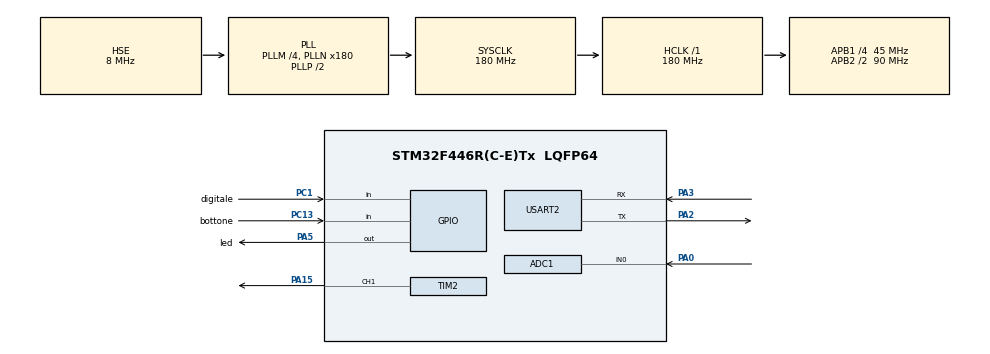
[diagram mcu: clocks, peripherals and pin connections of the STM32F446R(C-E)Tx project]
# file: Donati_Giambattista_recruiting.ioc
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ADC1.Channel-4\#ChannelRegularConversion=ADC_CHANNEL_0
ADC1.NbrOfConversionFlag=1
ADC1.Rank-4\#ChannelRegularConversion=1
ADC1.SamplingTime-4\#ChannelRegularConversion=ADC_SAMPLETIME_3CYCLES
ADC1.master=1
Dma.Request0=USART2_TX
Dma.USART2_TX.0.Direction=DMA_MEMORY_TO_PERIPH
Dma.USART2_TX.0.FIFOMode=DMA_FIFOMODE_DISABLE
Dma.USART2_TX.0.Instance=DMA1_Stream6
Dma.USART2_TX.0.MemDataAlignment=DMA_MDATAALIGN_BYTE
Dma.USART2_TX.0.MemInc=DMA_MINC_ENABLE
Dma.USART2_TX.0.Mode=DMA_NORMAL
Dma.USART2_TX.0.PeriphDataAlignment=DMA_PDATAALIGN_BYTE
Dma.USART2_TX.0.PeriphInc=DMA_PINC_DISABLE
Dma.USART2_TX.0.Priority=DMA_PRIORITY_LOW
Mcu.Family=STM32F4
Mcu.Name=STM32F446R(C-E)Tx
Mcu.Package=LQFP64
NVIC.DMA1_Stream6_IRQn=true\:0\:0\:false\:false\:true\:false\:true\:true
NVIC.PriorityGroup=NVIC_PRIORITYGROUP_0
NVIC.USART2_IRQn=true\:0\:0\:false\:false\:true\:true\:true\:true
PA0-WKUP.Signal=ADCx_IN0
PA13.Mode=Serial_Wire
PA13.Signal=SYS_JTMS-SWDIO
PA14.Mode=Serial_Wire
PA14.Signal=SYS_JTCK-SWCLK
PA15.Signal=S_TIM2_CH1_ETR
PA2.Mode=Asynchronous
PA2.Signal=USART2_TX
PA3.Mode=Asynchronous
PA3.Signal=USART2_RX
PA5.GPIO_Label=led
PA5.Signal=GPIO_Output
PC1.GPIO_Label=digitale
PC1.Signal=GPIO_Input
PC13.GPIO_Label=bottone
PC13.Signal=GPIO_Input
PH0-OSC_IN.Mode=HSE-External-Oscillator
PH0-OSC_IN.Signal=RCC_OSC_IN
PH1-OSC_OUT.Mode=HSE-External-Oscillator
PH1-OSC_OUT.Signal=RCC_OSC_OUT
ProjectManager.HeapSize=0x200
ProjectManager.StackSize=0x400
ProjectManager.TargetToolchain=Makefile
RCC.48MHZClocksFreq_Value=84000000
RCC.AHBFreq_Value=180000000
RCC.APB1CLKDivider=RCC_HCLK_DIV4
RCC.APB1Freq_Value=45000000
RCC.APB1TimFreq_Value=90000000
RCC.APB2CLKDivider=RCC_HCLK_DIV2
RCC.APB2Freq_Value=90000000
RCC.APB2TimFreq_Value=180000000
RCC.CortexFreq_Value=180000000
RCC.FLatency-AdvancedSettings=FLASH_LATENCY_5
RCC.HCLKFreq_Value=180000000
RCC.HSE_VALUE=8000000
RCC.HSI_VALUE=16000000
RCC.PLLM=4
RCC.PLLN=180
RCC.PLLSourceVirtual=RCC_PLLSOURCE_HSE
RCC.SYSCLKFreq_VALUE=180000000
RCC.SYSCLKSource=RCC_SYSCLKSOURCE_PLLCLK
RCC.USBFreq_Value=180000000
RCC.VCOOutputFreq_Value=360000000
SH.ADCx_IN0.0=ADC1_IN0,IN0
SH.S_TIM2_CH1_ETR.0=TIM2_CH1,PWM Generation1 CH1
TIM2.Channel-PWM\ Generation1\ CH1=TIM_CHANNEL_1
TIM2.Period=4294967295
TIM2.Prescaler=45000
USART2.VirtualMode=VM_ASYNC
VP_TIM2_VS_ClockSourceINT.Mode=Internal
board=NUCLEO-F446RE

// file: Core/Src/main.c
/* USER CODE BEGIN Header */
/**
  ******************************************************************************
  * @file           : main.c
  * @brief          : Main program body
  ******************************************************************************
  * @attention
  *
  * Copyright (c) 2024 STMicroelectronics.
  * All rights reserved.
  *
  * This software is licensed under terms that can be found in the LICENSE file
  * in the root directory of this software component.
  * If no LICENSE file comes with this software, it is provided AS-IS.
  *
  ******************************************************************************
  */
/* USER CODE END Header */
#include "main.h"
#include <stdio.h>
#include <string.h>

ADC_HandleTypeDef hadc1;

TIM_HandleTypeDef htim2;

UART_HandleTypeDef huart2;
DMA_HandleTypeDef hdma_usart2_tx;

/* USER CODE BEGIN PV */

uint16_t vin=0;
char msg[20];
char input[20];
uint8_t rxdata[20];
uint8_t final_data[20];
uint8_t temp[2];
uint32_t timer_counter;
int cont;

/* USER CODE END PV */

void SystemClock_Config(void);
static void MX_GPIO_Init(void);
static void MX_DMA_Init(void);
static void MX_USART2_UART_Init(void);
static void MX_ADC1_Init(void);
static void MX_TIM2_Init(void);
/* USER CODE BEGIN PFP */

void wait_request();
void pause();
void warning();
void error();
void listening();
void read_sensor();
/* USER CODE END PFP */

/* USER CODE BEGIN 0 */

// void HAL_UART_RxCpltCallback(UART_HandleTypeDef *huart2)
// {
//   memcpy(rxdata+cont, temp, 1);
//   if(++cont>=20) cont=0;
//   HAL_UART_Receive_IT(&huart2, temp, 2);
// }

/* USER CODE END 0 */

int main(void)
{

  /* MCU Configuration--------------------------------------------------------*/

  /* Reset of all peripherals, Initializes the Flash interface and the Systick. */
  HAL_Init();

  /* Configure the system clock */
  SystemClock_Config();

  /* Initialize all configured peripherals */
  MX_GPIO_Init();
  MX_DMA_Init();
  MX_USART2_UART_Init();
  MX_ADC1_Init();
  MX_TIM2_Init();
  /* USER CODE BEGIN 2 */
  wait_request();

  /* USER CODE END 2 */

  /* Infinite loop */
  while (1)
  {

    // HAL_GPIO_WritePin(led_GPIO_Port, led_Pin, GPIO_PIN_SET);
    // HAL_Delay(200);
    // HAL_GPIO_WritePin(led_GPIO_Port, led_Pin, GPIO_PIN_RESET);
    // HAL_Delay(200);

    // if(temp[0] == '\n')
    // {
    //   memcpy(final_data, rxdata, cont);
    //   cont = 0;
    // }

    // HAL_UART_Receive(&huart2, (uint8_t*)&input, 20, 1000);
    // if(input[0]=='L')
    // {
    //   HAL_GPIO_WritePin(led_GPIO_Port, led_Pin, GPIO_PIN_SET);
    //   HAL_Delay(200);
    //   HAL_GPIO_WritePin(led_GPIO_Port, led_Pin, GPIO_PIN_RESET);
    // }

    HAL_GPIO_WritePin(led_GPIO_Port, led_Pin, GPIO_PIN_SET);
    listening();
    //read_sensor();

  }
}

void wait_request()
{
  while(HAL_GPIO_ReadPin(bottone_GPIO_Port, bottone_Pin)==GPIO_PIN_SET)
  {

  }
  char data[]="programma iniziato\n ";
  HAL_UART_Transmit(&huart2, (uint8_t*)&data, strlen(data), HAL_MAX_DELAY);
  HAL_Delay(100);
}

void pause()
{
  HAL_Delay(100);
  while(HAL_GPIO_ReadPin(bottone_GPIO_Port, bottone_Pin)==GPIO_PIN_SET)
  {
    char data[20]="Stato Pause\n ";
    HAL_UART_Transmit(&huart2, (uint8_t*)&data, strlen(data), HAL_MAX_DELAY);

    HAL_GPIO_WritePin(led_GPIO_Port, led_Pin, GPIO_PIN_SET);
    HAL_Delay(1000);
    HAL_GPIO_WritePin(led_GPIO_Port, led_Pin, GPIO_PIN_RESET);
    HAL_Delay(1000);
  }
}

void warning()
{
  while(HAL_GPIO_ReadPin(bottone_GPIO_Port, bottone_Pin)==GPIO_PIN_SET)
  {
    char data[20]="WARNING\n ";
    HAL_UART_Transmit(&huart2, (uint8_t*)&data, strlen(data), HAL_MAX_DELAY);
    HAL_Delay(500);
  }
}

void error()
{
  while(HAL_GPIO_ReadPin(bottone_GPIO_Port, bottone_Pin)==GPIO_PIN_SET)
  {
    char data[20]="ERROR\n ";
    HAL_UART_Transmit(&huart2, (uint8_t*)&data, strlen(data), HAL_MAX_DELAY);
    HAL_GPIO_WritePin(led_GPIO_Port, led_Pin, GPIO_PIN_SET);
    HAL_Delay(200);
    HAL_GPIO_WritePin(led_GPIO_Port, led_Pin, GPIO_PIN_RESET);
    HAL_Delay(200);
  }
  NVIC_SystemReset();

}

void listening()
{
  read_sensor();
  if(HAL_GPIO_ReadPin(bottone_GPIO_Port, bottone_Pin)==GPIO_PIN_RESET)
  {
    pause();
  }
  if(HAL_GPIO_ReadPin(digitale_GPIO_Port, digitale_Pin)==GPIO_PIN_SET)
  {
    timer_counter=__HAL_TIM_GET_COUNTER(&htim2);
    while (HAL_GPIO_ReadPin(digitale_GPIO_Port, digitale_Pin)==GPIO_PIN_SET)
    {}
  }

  if (__HAL_TIM_GET_COUNTER(&htim2) - timer_counter >=20000)
  {
    warning();
    timer_counter=0;
  }

}

void read_sensor()
{
    HAL_ADC_Start(&hadc1);
    HAL_ADC_PollForConversion(&hadc1, 20);
    vin=HAL_ADC_GetValue(&hadc1);
    sprintf(msg, "Vin: %hu \n\r", vin);
    HAL_UART_Transmit(&huart2, (uint8_t*)&msg, 20, HAL_MAX_DELAY);
    HAL_Delay(100);
}

void SystemClock_Config(void)
{
  RCC_OscInitTypeDef RCC_OscInitStruct = {0};
  RCC_ClkInitTypeDef RCC_ClkInitStruct = {0};

  /** Configure the main internal regulator output voltage
  */
  __HAL_RCC_PWR_CLK_ENABLE();
  __HAL_PWR_VOLTAGESCALING_CONFIG(PWR_REGULATOR_VOLTAGE_SCALE1);

  /** Initializes the RCC Oscillators according to the specified parameters
  * in the RCC_OscInitTypeDef structure.
  */
  RCC_OscInitStruct.OscillatorType = RCC_OSCILLATORTYPE_HSE;
  RCC_OscInitStruct.HSEState = RCC_HSE_ON;
  RCC_OscInitStruct.PLL.PLLState = RCC_PLL_ON;
  RCC_OscInitStruct.PLL.PLLSource = RCC_PLLSOURCE_HSE;
  RCC_OscInitStruct.PLL.PLLM = 4;
  RCC_OscInitStruct.PLL.PLLN = 180;
  RCC_OscInitStruct.PLL.PLLP = RCC_PLLP_DIV2;
  RCC_OscInitStruct.PLL.PLLQ = 2;
  RCC_OscInitStruct.PLL.PLLR = 2;
  if (HAL_RCC_OscConfig(&RCC_OscInitStruct) != HAL_OK)
  {
    Error_Handler();
  }

  /** Activate the Over-Drive mode
  */
  if (HAL_PWREx_EnableOverDrive() != HAL_OK)
  {
    Error_Handler();
  }

  /** Initializes the CPU, AHB and APB buses clocks
  */
  RCC_ClkInitStruct.ClockType = RCC_CLOCKTYPE_HCLK|RCC_CLOCKTYPE_SYSCLK
                              |RCC_CLOCKTYPE_PCLK1|RCC_CLOCKTYPE_PCLK2;
  RCC_ClkInitStruct.SYSCLKSource = RCC_SYSCLKSOURCE_PLLCLK;
  RCC_ClkInitStruct.AHBCLKDivider = RCC_SYSCLK_DIV1;
  RCC_ClkInitStruct.APB1CLKDivider = RCC_HCLK_DIV4;
  RCC_ClkInitStruct.APB2CLKDivider = RCC_HCLK_DIV2;

  if (HAL_RCC_ClockConfig(&RCC_ClkInitStruct, FLASH_LATENCY_5) != HAL_OK)
  {
    Error_Handler();
  }
}

static void MX_ADC1_Init(void)
{

  ADC_ChannelConfTypeDef sConfig = {0};

  /** Configure the global features of the ADC (Clock, Resolution, Data Alignment and number of conversion)
  */
  hadc1.Instance = ADC1;
  hadc1.Init.ClockPrescaler = ADC_CLOCK_SYNC_PCLK_DIV4;
  hadc1.Init.Resolution = ADC_RESOLUTION_12B;
  hadc1.Init.ScanConvMode = DISABLE;
  hadc1.Init.ContinuousConvMode = DISABLE;
  hadc1.Init.DiscontinuousConvMode = DISABLE;
  hadc1.Init.ExternalTrigConvEdge = ADC_EXTERNALTRIGCONVEDGE_NONE;
  hadc1.Init.ExternalTrigConv = ADC_SOFTWARE_START;
  hadc1.Init.DataAlign = ADC_DATAALIGN_RIGHT;
  hadc1.Init.NbrOfConversion = 1;
  hadc1.Init.DMAContinuousRequests = DISABLE;
  hadc1.Init.EOCSelection = ADC_EOC_SINGLE_CONV;
  if (HAL_ADC_Init(&hadc1) != HAL_OK)
  {
    Error_Handler();
  }

  /** Configure for the selected ADC regular channel its corresponding rank in the sequencer and its sample time.
  */
  sConfig.Channel = ADC_CHANNEL_0;
  sConfig.Rank = 1;
  sConfig.SamplingTime = ADC_SAMPLETIME_3CYCLES;
  if (HAL_ADC_ConfigChannel(&hadc1, &sConfig) != HAL_OK)
  {
    Error_Handler();
  }

}

static void MX_TIM2_Init(void)
{

  TIM_ClockConfigTypeDef sClockSourceConfig = {0};
  TIM_MasterConfigTypeDef sMasterConfig = {0};
  TIM_OC_InitTypeDef sConfigOC = {0};

  htim2.Instance = TIM2;
  htim2.Init.Prescaler = 45000;
  htim2.Init.CounterMode = TIM_COUNTERMODE_UP;
  htim2.Init.Period = 4294967295;
  htim2.Init.ClockDivision = TIM_CLOCKDIVISION_DIV1;
  htim2.Init.AutoReloadPreload = TIM_AUTORELOAD_PRELOAD_DISABLE;
  if (HAL_TIM_Base_Init(&htim2) != HAL_OK)
  {
    Error_Handler();
  }
  sClockSourceConfig.ClockSource = TIM_CLOCKSOURCE_INTERNAL;
  if (HAL_TIM_ConfigClockSource(&htim2, &sClockSourceConfig) != HAL_OK)
  {
    Error_Handler();
  }
  if (HAL_TIM_PWM_Init(&htim2) != HAL_OK)
  {
    Error_Handler();
  }
  sMasterConfig.MasterOutputTrigger = TIM_TRGO_RESET;
  sMasterConfig.MasterSlaveMode = TIM_MASTERSLAVEMODE_DISABLE;
  if (HAL_TIMEx_MasterConfigSynchronization(&htim2, &sMasterConfig) != HAL_OK)
  {
    Error_Handler();
  }
  sConfigOC.OCMode = TIM_OCMODE_PWM1;
  sConfigOC.Pulse = 0;
  sConfigOC.OCPolarity = TIM_OCPOLARITY_HIGH;
  sConfigOC.OCFastMode = TIM_OCFAST_DISABLE;
  if (HAL_TIM_PWM_ConfigChannel(&htim2, &sConfigOC, TIM_CHANNEL_1) != HAL_OK)
  {
    Error_Handler();
  }
  /* USER CODE BEGIN TIM2_Init 2 */
  HAL_TIM_Base_Start(&htim2);
  /* USER CODE END TIM2_Init 2 */
  HAL_TIM_MspPostInit(&htim2);

}

static void MX_USART2_UART_Init(void)
{

  huart2.Instance = USART2;
  huart2.Init.BaudRate = 115200;
  huart2.Init.WordLength = UART_WORDLENGTH_8B;
  huart2.Init.StopBits = UART_STOPBITS_1;
  huart2.Init.Parity = UART_PARITY_NONE;
  huart2.Init.Mode = UART_MODE_TX_RX;
  huart2.Init.HwFlowCtl = UART_HWCONTROL_NONE;
  huart2.Init.OverSampling = UART_OVERSAMPLING_16;
  if (HAL_UART_Init(&huart2) != HAL_OK)
  {
    Error_Handler();
  }

}

static void MX_DMA_Init(void)
{

  /* DMA controller clock enable */
  __HAL_RCC_DMA1_CLK_ENABLE();

  /* DMA interrupt init */
  /* DMA1_Stream6_IRQn interrupt configuration */
  HAL_NVIC_SetPriority(DMA1_Stream6_IRQn, 0, 0);
  HAL_NVIC_EnableIRQ(DMA1_Stream6_IRQn);

}

static void MX_GPIO_Init(void)
{
  GPIO_InitTypeDef GPIO_InitStruct = {0};

  /* GPIO Ports Clock Enable */
  __HAL_RCC_GPIOC_CLK_ENABLE();
  __HAL_RCC_GPIOH_CLK_ENABLE();
  __HAL_RCC_GPIOA_CLK_ENABLE();

  /*Configure GPIO pin Output Level */
  HAL_GPIO_WritePin(led_GPIO_Port, led_Pin, GPIO_PIN_RESET);

  /*Configure GPIO pins : bottone_Pin digitale_Pin */
  GPIO_InitStruct.Pin = bottone_Pin|digitale_Pin;
  GPIO_InitStruct.Mode = GPIO_MODE_INPUT;
  GPIO_InitStruct.Pull = GPIO_NOPULL;
  HAL_GPIO_Init(GPIOC, &GPIO_InitStruct);

  /*Configure GPIO pin : led_Pin */
  GPIO_InitStruct.Pin = led_Pin;
  GPIO_InitStruct.Mode = GPIO_MODE_OUTPUT_PP;
  GPIO_InitStruct.Pull = GPIO_NOPULL;
  GPIO_InitStruct.Speed = GPIO_SPEED_FREQ_LOW;
  HAL_GPIO_Init(led_GPIO_Port, &GPIO_InitStruct);

}

void Error_Handler(void)
{
  __disable_irq();
  while (1)
  {
  }
}
